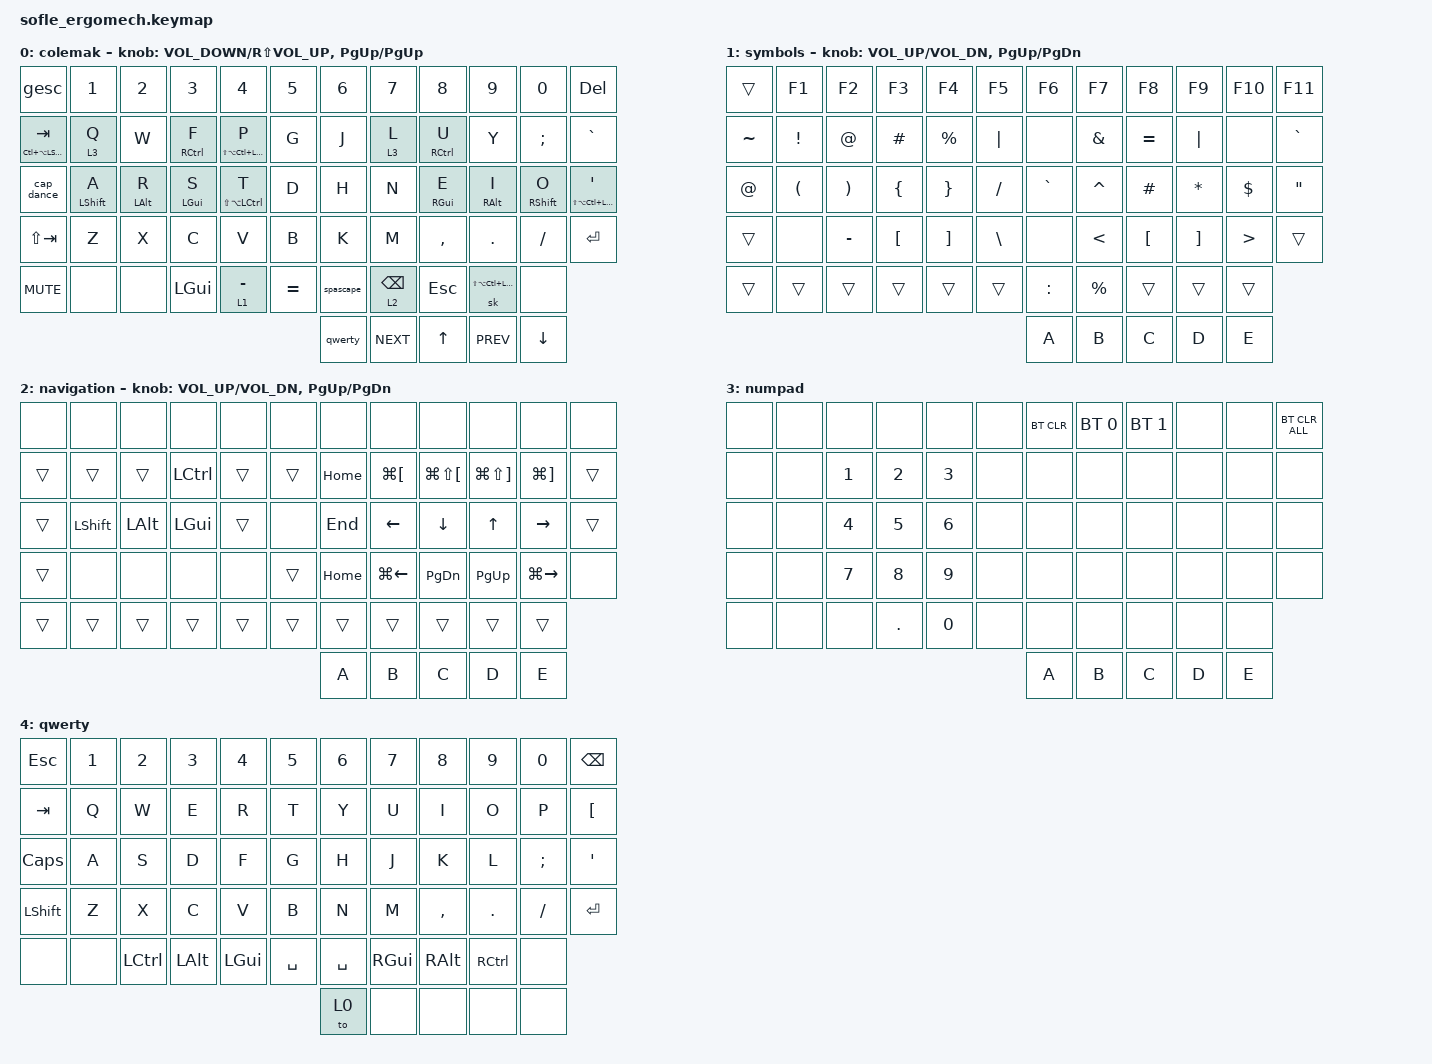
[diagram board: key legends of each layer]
/*
 * Copyright (c) 2020 The ZMK Contributors
 *
 * SPDX-License-Identifier: MIT
 */

#include <behaviors.dtsi>
#include <dt-bindings/zmk/bt.h>
#include <dt-bindings/zmk/keys.h>

#define BASE 0
#define LOWER 1
#define RAISE 2
#define ADJUST 3

&lt {
    quick-tap-ms = <150>;
    require-prior-idle-ms = <50>;
    tapping-term-ms = <195>;
};

/ {
    behaviors {
        bhm: balanced_homerow_mods {
            compatible = "zmk,behavior-hold-tap";
            #binding-cells = <2>;
            tapping-term-ms = <200>;    // <---[[moderate duration]]
            quick-tap-ms = <120>;
            flavor = "balanced";
            bindings = <&kp>, <&kp>;

            require-prior-idle-ms = <40>;
        };

        gesc: gesc {
            compatible = "zmk,behavior-mod-morph";
            label = "GESC";
            bindings = <&kp ESC>, <&kp GRAVE>;

            #binding-cells = <0>;
            mods = <(MOD_LCTL|MOD_LALT|MOD_LGUI|MOD_RCTL|MOD_RALT|MOD_RGUI|MOD_LSFT|MOD_RSFT)>;
            keep-mods = <(MOD_LSFT|MOD_RSFT|MOD_LGUI|MOD_RGUI)>;
        };

        mokp: mokp {
            compatible = "zmk,behavior-hold-tap";
            label = "MOKP";
            bindings = <&mo>, <&kp>;

            #binding-cells = <2>;
            tapping-term-ms = <195>;
            hold-trigger-key-positions = <14 15 16 28 27 26 27 28 38 39 40 52 51>;
            flavor = "balanced";
            require-prior-idle-ms = <80>;
            quick-tap-ms = <150>;
        };

        qwerty: qwerty {
            compatible = "zmk,behavior-mod-morph";
            label = "QWERTY";
            bindings = <&kp LS(C_PLAY_PAUSE)>, <&to 4>;

            #binding-cells = <0>;
            mods = <(MOD_LCTL|MOD_LSFT|MOD_LALT|MOD_LGUI|MOD_RCTL|MOD_RSFT|MOD_RALT|MOD_RGUI)>;
        };

        cap_dance: cap_dance {
            compatible = "zmk,behavior-tap-dance";
            label = "CAP_DANCE";
            #binding-cells = <0>;
            bindings = <&caps_word>, <&kp CAPS>;
        };

        nav_tog: nav_tog {
            compatible = "zmk,behavior-hold-tap";
            label = "NAV_TOG";
            bindings = <&mo>, <&kp>;

            #binding-cells = <2>;
            tapping-term-ms = <200>;
            flavor = "tap-preferred";
            quick-tap-ms = <190>;
            require-prior-idle-ms = <90>;
            hold-trigger-key-positions = <25 26 27 15 18 19 20 21 22 30 31 32 33 34 42 43 44 45 46 23 35 16 28>;
        };

        spascape: spascape {
            compatible = "zmk,behavior-mod-morph";
            label = "SPASCAPE";
            bindings = <&kp SPACE>, <&kp ESCAPE>;

            #binding-cells = <0>;
            mods = <(MOD_RALT|MOD_RGUI|MOD_RSFT)>;
        };

        tap_preferred_alt: tap_preferred_alt {
            compatible = "zmk,behavior-hold-tap";
            #binding-cells = <2>;
            tapping-term-ms = <210>;
            quick-tap-ms = <120>;
            flavor = "tap-preferred";
            bindings = <&kp>, <&kp>;

            require-prior-idle-ms = <80>;
            label = "TAP_PREFERRED_ALT";
        };
    };

    // Activate ADJUST layer by pressing raise and lower

    conditional_layers { compatible = "zmk,conditional-layers"; };

    macros {
        arrrow: arrow_macro {
            compatible = "zmk,behavior-macro";
            #binding-cells = <0>;
            bindings = <&kp MINUS &kp GT>, <&macro_press>;

            label = "ARROW_MACRO";
        };

        fat_arrow: fat_arrow {
            compatible = "zmk,behavior-macro";
            #binding-cells = <0>;
            bindings = <&kp EQUAL &kp GT>;
            label = "FAT_ARROW";
        };
    };

    combos { compatible = "zmk,combos"; };

    keymap {
        compatible = "zmk,keymap";

        colemak {
            label = "colemak";

            // ------------------------------------------------------------------------------------------------------------
            // |   `   |  1  |  2  |  3   |  4   |  5   |                   |  6   |  7    |  8    |  9   |   0   |       |
            // |  ESC  |  Q  |  W  |  E   |  R   |  T   |                   |  Y   |  U    |  I    |  O   |   P   | BKSPC |
            // |  TAB  |  A  |  S  |  D   |  F   |  G   |                   |  H   |  J    |  K    |  L   |   ;   |   '   |
            // | SHIFT |  Z  |  X  |  C   |  V   |  B   |  MUTE  |  |       |  N   |  M    |  ,    |  .   |   /   | SHIFT |
            //               | GUI | ALT  | CTRL | LOWER|  ENTER |  | SPACE | RAISE| CTRL  | ALT   | GUI  |

            bindings = <
&gesc                   &kp N1        &kp N2                     &kp N3        &kp N4                       &kp N5     &kp N6     &kp N7                &kp N8        &kp N9                     &kp N0        &kp DEL
&mt LC(LA(LSHIFT)) TAB  &mokp 3 Q     &kp W                      &bhm RCTRL F  &bhm LS(LA(LC(LEFT_GUI))) P  &kp G      &kp J      &mokp 3 L             &bhm RCTRL U  &kp Y                      &kp SEMI      &kp GRAVE
&cap_dance              &bhm LSHFT A  &tap_preferred_alt LALT R  &bhm LGUI S   &bhm LS(LA(LCTRL)) T         &kp D      &kp H      &kp N                 &bhm RGUI E   &tap_preferred_alt RALT I  &bhm RSHFT O  &bhm LS(LA(LC(LGUI))) SQT
&kp LS(TAB)             &kp Z         &kp X                      &kp C         &kp V                        &kp B      &kp K      &kp M                 &kp COMMA     &kp DOT                    &kp FSLH      &kp RET
&kp C_MUTE              &none         &none                      &kp LEFT_GUI  &lt 1 MINUS                  &kp EQUAL  &spascape  &nav_tog 2 BACKSPACE  &kp ESCAPE    &sk LS(LA(LC(LEFT_GUI)))   &none
                                                                                                                       &qwerty    &kp C_NEXT            &kp UP_ARROW  &kp C_PREV                 &kp DOWN
            >;

            sensor-bindings =
                <&inc_dec_kp C_VOLUME_DOWN RS(C_VOLUME_UP)>,
                <&inc_dec_kp PG_UP PG_UP>;
        };

        symbols_layer {
            label = "symbols";

            // TODO: Some binds are waiting for shifted keycode support.
            // ------------------------------------------------------------------------------------------------------------
            // |       |  F1 |  F2 |  F3  |  F4  |  F5  |                   |  F6  |  F7   |  F8   |  F9  |  F10  |  F11  |
            // |   `   |  1  |  2  |  3   |  4   |  5   |                   |  6   |  7    |  8    |  9   |   0   |  F12  |
            // |       |  !  |  @  |  #   |  $   |  %   |                   |  ^   |  &    |  *    |  (   |   )   |   |   |
            // |       |  =  |  -  |  +   |  {   |  }   |        |  |       |  [   |  ]    |  ;    |  :   |   \   |       |
            //               |     |      |      |      |        |  |       |      |       |       |      |

            bindings = <
&trans       &kp F1    &kp F2       &kp F3    &kp F4       &kp F5         &kp F6     &kp F7         &kp F8            &kp F9             &kp F10           &kp F11
&kp TILDE    &kp EXCL  &kp AT_SIGN  &kp HASH  &kp PERCENT  &kp PIPE       &none      &kp AMPERSAND  &kp EQUAL         &kp PIPE           &none             &kp GRAVE
&kp AT_SIGN  &kp LPAR  &kp RPAR     &kp LBRC  &kp RBRC     &kp SLASH      &kp GRAVE  &kp CARET      &kp HASH          &kp ASTRK          &kp DOLLAR        &kp DQT
&trans       &none     &kp MINUS    &kp LBKT  &kp RBKT     &kp BACKSLASH  &none      &kp LT         &kp LEFT_BRACKET  &kp RIGHT_BRACKET  &kp GREATER_THAN  &trans
&trans       &trans    &trans       &trans    &trans       &trans         &kp COLON  &kp PERCENT    &trans            &trans             &trans
                                                                          &kp A      &kp B          &kp C             &kp D              &kp E
            >;

            sensor-bindings = <&inc_dec_kp C_VOL_UP C_VOL_DN &inc_dec_kp PG_UP PG_DN>;
        };

        navigation_layer {
            label = "navigation";

            // ------------------------------------------------------------------------------------------------------------
            // | BTCLR | BT1  | BT2  |  BT3  |  BT4  |  BT5 |                |      |      |       |      |       |       |
            // |       | INS  | PSCR | GUI   |       |      |                | PGUP |      |   ^   |      |       |       |
            // |       | ALT  | CTRL | SHIFT |       | CAPS |                | PGDN |   <- |   v   |  ->  |  DEL  | BKSPC |
            // |       | UNDO | CUT  | COPY  | PASTE |      |      |  |      |      |      |       |      |       |       |
            //                |      |       |       |      |      |  |      |      |      |       |      |

            bindings = <
&none   &none           &none         &none         &none   &none   &none     &none                 &none                     &none                      &none                  &none
&trans  &trans          &trans        &kp LCTRL     &trans  &trans  &kp HOME  &kp LG(LEFT_BRACKET)  &kp LG(LS(LEFT_BRACKET))  &kp LG(LS(RIGHT_BRACKET))  &kp LG(RIGHT_BRACKET)  &trans
&trans  &kp LEFT_SHIFT  &kp LEFT_ALT  &kp LEFT_GUI  &trans  &none   &kp END   &kp LEFT              &kp DOWN                  &kp UP                     &kp RIGHT              &trans
&trans  &none           &none         &none         &none   &trans  &kp HOME  &kp LG(LEFT)          &kp PG_DN                 &kp PG_UP                  &kp LG(RIGHT)          &none
&trans  &trans          &trans        &trans        &trans  &trans  &trans    &trans                &trans                    &trans                     &trans
                                                                    &kp A     &kp B                 &kp C                     &kp D                      &kp E
            >;

            sensor-bindings = <&inc_dec_kp C_VOL_UP C_VOL_DN &inc_dec_kp PG_UP PG_DN>;
        };

        numpad {
            // ----------------------------------------------------------------------------------------------------------------------------
            // | BTCLR  |  BT1    |  BT2    |   BT3   |   BT4   |   BT5   |                  |      |      |       |      |       |       |
            // | EXTPWR | RGB_HUD | RGB_HUI | RGB_SAD | RGB_SAI | RGB_EFF |                  |      |      |       |      |       |       |
            // |        | RGB_BRD | RGB_BRI |         |         |         |                  |      |      |       |      |       |       |
            // |        |         |         |         |         |         | RGB_TOG | |      |      |      |       |      |       |       |
            //                    |         |         |         |         |         | |      |      |      |       |      |

            label = "numpad";
            bindings = <
&none  &none  &none   &none    &none   &none  &bt BT_CLR  &bt BT_SEL 0  &bt BT_SEL 1  &none  &none  &bt BT_CLR_ALL
&none  &none  &kp N1  &kp N2   &kp N3  &none  &none       &none         &none         &none  &none  &none
&none  &none  &kp N4  &kp N5   &kp N6  &none  &none       &none         &none         &none  &none  &none
&none  &none  &kp N7  &kp N8   &kp N9  &none  &none       &none         &none         &none  &none  &none
&none  &none  &none   &kp DOT  &kp N0  &none  &none       &none         &none         &none  &none
                                              &kp A       &kp B         &kp C         &kp D  &kp E
            >;
        };

        qwerty {
            label = "qwerty";
            bindings = <
&kp ESCAPE  &kp N1  &kp N2     &kp N3    &kp N4    &kp N5     &kp N6     &kp N7    &kp N8     &kp N9     &kp N0    &kp BSPC
&kp TAB     &kp Q   &kp W      &kp E     &kp R     &kp T      &kp Y      &kp U     &kp I      &kp O      &kp P     &kp LBKT
&kp CAPS    &kp A   &kp S      &kp D     &kp F     &kp G      &kp H      &kp J     &kp K      &kp L      &kp SEMI  &kp APOS
&kp LSHFT   &kp Z   &kp X      &kp C     &kp V     &kp B      &kp N      &kp M     &kp COMMA  &kp DOT    &kp FSLH  &kp ENTER
&none       &none   &kp LCTRL  &kp LALT  &kp LGUI  &kp SPACE  &kp SPACE  &kp RGUI  &kp RALT   &kp RCTRL  &none
                                                              &to 0      &none     &none      &none      &none
            >;
        };
    };
};
